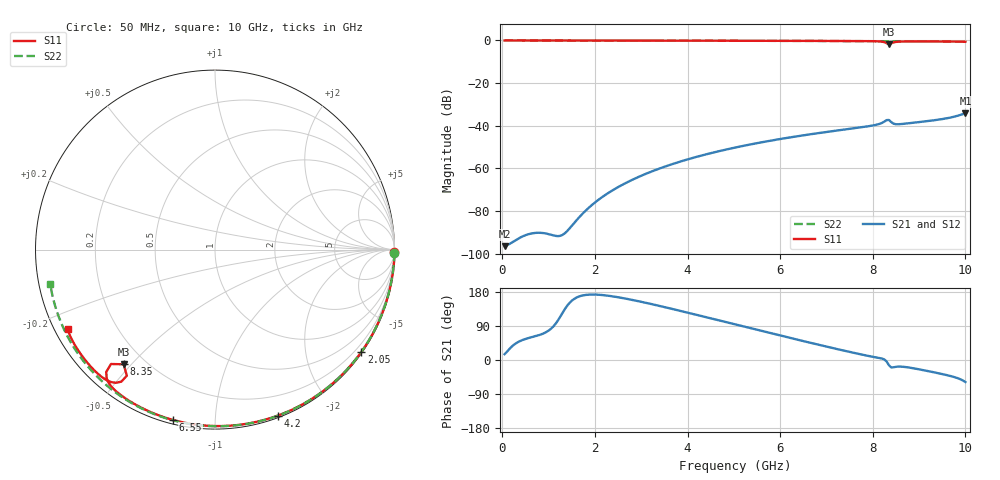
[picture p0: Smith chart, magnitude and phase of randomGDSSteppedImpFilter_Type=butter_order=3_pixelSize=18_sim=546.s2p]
! freq	dB(S11)	phase(S11)	dB(S12)	phase(S12)
!  dB(S21)	phase(S21)	dB(S22)	phase(S22)
!S-par simulation data
#  GHz  S  DB  R 50
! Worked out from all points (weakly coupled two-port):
!   200 points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, 50 MHz to 10 GHz, reference 50 ohm
!   highest |S21| = -34.15 dB at 10 GHz (marker M1); lowest = -96.5 dB at 50 MHz (marker M2)
!   lowest |S11| = -1.8 dB at 8.35 GHz (marker M3), VSWR 9.92, Z = 6.19 - j23.8 ohm
!   |S11| at or under -10 dB: nowhere
!   |S22| runs from -0.6 to 0.0 dB; largest |S21 - S12| = 0
!   S11 on the Smith chart (normalised r, x): 50 MHz: open; 2.05 GHz: 0.03, -3.17; 4.2 GHz: 0.02, -1.45; 6.55 GHz: 0.02, -0.78; 8.35 GHz: 0.12, -0.48; 10 GHz: 0.04, -0.25
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0.05  -0.00 -0.9  -96.45 15.3  -96.45 15.3  -0.00 -1.0
0.9  -0.02 -15.6  -90.35 70.7  -90.35 70.7  -0.02 -17.3
1.75  -0.04 -30.0  -80.86 170.7  -80.86 170.7  -0.04 -33.2
1.8  -0.04 -30.8  -79.79 171.7  -79.79 171.7  -0.04 -34.2
2.05  -0.04 -35.0  -75.14 172.4  -75.14 172.4  -0.05 -38.8
2.35  -0.05 -39.9  -70.67 168.5  -70.67 168.5  -0.06 -44.3
2.65  -0.06 -44.9  -67.01 162.3  -67.01 162.3  -0.06 -49.7
3.4  -0.08 -56.9  -60.00 142.6  -60.00 142.6  -0.08 -63.0
4.2  -0.10 -69.4  -54.55 119.0  -54.55 119.0  -0.11 -76.7
5.05  -0.13 -82.2  -50.11 93.2  -50.11 93.2  -0.14 -90.7
6.55  -0.20 -103.8  -44.32 48.4  -44.32 48.4  -0.22 -114.4
6.7  -0.21 -105.9  -43.84 44.0  -43.84 44.0  -0.23 -116.7
7.75  -0.29 -121.1  -40.72 14.6  -40.72 14.6  -0.31 -132.8
8.2  -0.56 -130.0  -38.65 3.8  -38.65 3.8  -0.35 -139.6
8.3  -1.30 -132.3  -37.33 -4.1  -37.33 -4.1  -0.36 -141.2
8.35  -1.76 -128.5  -37.29 -14.0  -37.29 -14.0  -0.36 -141.9
8.4  -1.34 -125.0  -38.31 -19.6  -38.31 -19.6  -0.37 -142.7
8.45  -0.90 -125.3  -39.03 -19.2  -39.03 -19.2  -0.37 -143.5
8.55  -0.57 -127.9  -39.29 -17.4  -39.29 -17.4  -0.38 -145.0
8.85  -0.44 -133.6  -38.65 -21.2  -38.65 -21.2  -0.42 -149.7
9.5  -0.47 -143.5  -36.86 -37.1  -36.86 -37.1  -0.49 -159.9
10  -0.62 -151.8  -34.15 -58.1  -34.15 -58.1  -0.56 -168.1
